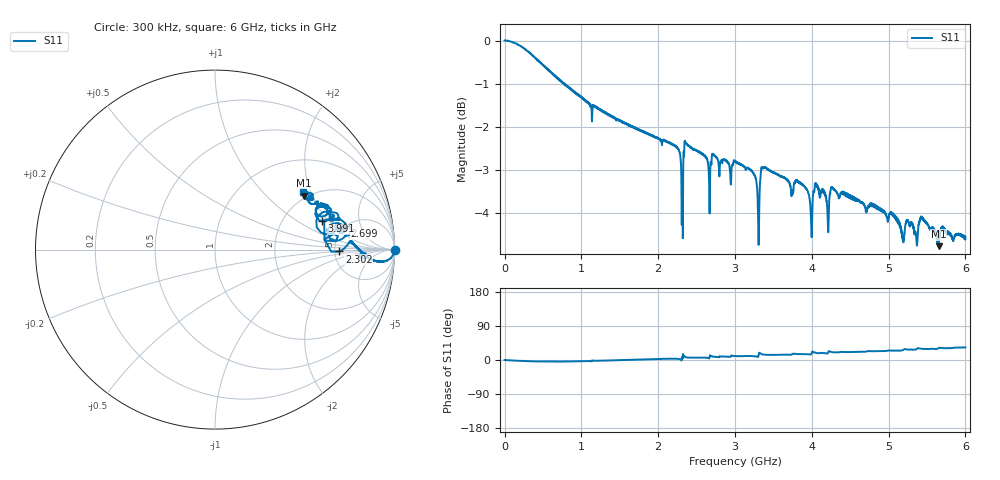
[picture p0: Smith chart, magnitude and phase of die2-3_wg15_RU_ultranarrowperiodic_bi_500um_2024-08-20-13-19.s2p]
!Keysight Technologies,P9374A,MY57304198,A.17.20.09
!Date: Tuesday, August 20, 2024 13:19:43
!Correction: S11(C  1-Port  )
!S21(C  1-Port  )
!S12(Off)
!S22(Off)
!S2P File: Measurements: S11, S21, S12, S22:
# Hz S  dB  R 50
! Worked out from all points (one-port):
!   6000 points, 300 kHz to 6 GHz, reference 50 ohm
!   lowest |S11| = -4.8 dB at 5.65 GHz (marker M1), VSWR 3.73, Z = 96 + j86.6 ohm
!   |S11| at or under -10 dB: nowhere
!   S11 on the Smith chart (normalised r, x): 300 kHz: open; 2.302 GHz: 5.52, -0.22; 2.699 GHz: 4.90, +2.79; 3.991 GHz: 3.29, +1.69; 6 GHz: 1.81, +1.80
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300000  0.00 -0.0  -200.00 45.0  -200.00 45.0  -200.00 45.0
4.243495e8  -0.44 -3.8  -200.00 45.0  -200.00 45.0  -200.00 45.0
1.000417e9  -1.33 -3.3  -200.00 45.0  -200.00 45.0  -200.00 45.0
2.000533e9  -2.28 2.6  -200.00 45.0  -200.00 45.0  -200.00 45.0
2.255563e9  -2.50 3.1  -200.00 45.0  -200.00 45.0  -200.00 45.0
2.301568e9  -3.18 -0.9  -200.00 45.0  -200.00 45.0  -200.00 45.0
2.337573e9  -2.69 10.0  -200.00 45.0  -200.00 45.0  -200.00 45.0
2.371577e9  -2.41 6.8  -200.00 45.0  -200.00 45.0  -200.00 45.0
2.638608e9  -2.76 5.7  -200.00 45.0  -200.00 45.0  -200.00 45.0
2.698615e9  -2.68 10.3  -200.00 45.0  -200.00 45.0  -200.00 45.0
3.00065e9  -2.79 10.3  -200.00 45.0  -200.00 45.0  -200.00 45.0
3.276682e9  -3.24 9.4  -200.00 45.0  -200.00 45.0  -200.00 45.0
3.308686e9  -4.70 14.8  -200.00 45.0  -200.00 45.0  -200.00 45.0
3.34169e9  -2.95 16.1  -200.00 45.0  -200.00 45.0  -200.00 45.0
3.839748e9  -3.31 15.6  -200.00 45.0  -200.00 45.0  -200.00 45.0
3.990766e9  -4.19 14.9  -200.00 45.0  -200.00 45.0  -200.00 45.0
4.000767e9  -4.50 20.3  -200.00 45.0  -200.00 45.0  -200.00 45.0
4.069775e9  -3.37 18.2  -200.00 45.0  -200.00 45.0  -200.00 45.0
4.213792e9  -4.45 20.3  -200.00 45.0  -200.00 45.0  -200.00 45.0
5.000883e9  -4.09 25.3  -200.00 45.0  -200.00 45.0  -200.00 45.0
5.649959e9  -4.77 31.3  -200.00 45.0  -200.00 45.0  -200.00 45.0
6e9  -4.55 33.1  -200.00 45.0  -200.00 45.0  -200.00 45.0
